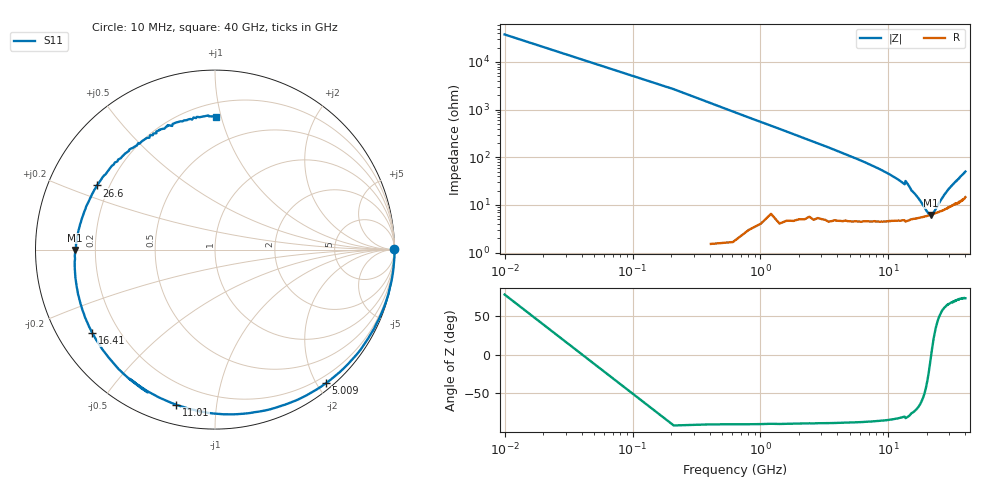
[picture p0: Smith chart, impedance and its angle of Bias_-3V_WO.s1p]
!Agilent Technologies,N5227A,US51270434,A.10.00.00
!Agilent N5227A: A.10.00.00
!Date: Monday, March 30, 2026 11:21:29
!Correction: S11(Full 1 Port(1))
!S1P File: Measurement: S11:
# Hz S  dB  R 50
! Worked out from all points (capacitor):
!   201 points, 10 MHz to 40 GHz, reference 50 ohm
!   read as one part to ground: C = 285 fF near 209.9 MHz
!   lowest |Z| = 6.18 ohm at 21.6 GHz (marker M1)
!   series resonance near 21.63 GHz, so ESL is about 190 pH
!   S11 on the Smith chart (normalised r, x): 10 MHz: open; 5.009 GHz: 0.09, -2.13; 11.01 GHz: 0.09, -0.78; 16.41 GHz: 0.10, -0.31; 26.6 GHz: 0.15, +0.25; 40 GHz: 0.29, +0.96
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1e7  -0.00 0.1
1.00975e9  -0.01 -10.4
2.20945e9  -0.07 -22.6
3.40915e9  -0.14 -34.6
5.00875e9  -0.28 -50.3
6.20845e9  -0.41 -61.7
7.40815e9  -0.55 -72.8
8.60785e9  -0.69 -83.6
1.00075e10  -0.87 -95.8
1.100725e10  -1.01 -104.1
1.340665e10  -1.28 -123.4
1.36066e10  -1.12 -115.2
1.44064e10  -1.31 -126.1
1.500625e10  -1.47 -134.7
1.52062e10  -1.52 -137.6
1.64059e10  -1.65 -145.7
1.820545e10  -1.86 -158.1
2.0005e10  -2.03 -169.8
2.16046e10  -2.16 -179.9
2.500375e10  -2.44 160.4
2.660335e10  -2.51 151.5
3.00025e10  -2.70 134.0
3.44014e10  -2.66 114.9
3.500125e10  -2.65 111.6
3.540115e10  -2.59 110.8
3.6001e10  -2.61 106.8
3.780055e10  -2.55 99.2
4e10  -2.60 89.7
